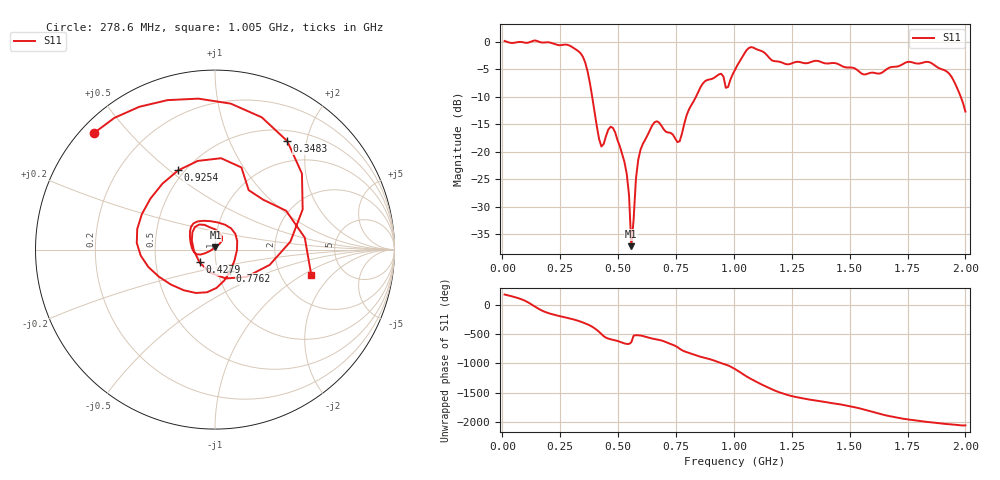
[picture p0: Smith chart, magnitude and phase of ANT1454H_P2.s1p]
!Created with skrf (http://scikit-rf.org).
# Hz S RI R 50.0
!freq ReS11 ImS11
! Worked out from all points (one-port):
!   201 points, 10 MHz to 2 GHz, reference 50 ohm
!   lowest |S11| = -37.1 dB at 557.2 MHz (marker M1), VSWR 1.03, Z = 50.2 + j1.37 ohm
!   |S11| at or under -10 dB: 388.1 MHz to 836.7 MHz (448.6 MHz wide, 73.2 % of centre); 1.98 GHz to end of sweep
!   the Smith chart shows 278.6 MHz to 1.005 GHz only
!   S11 on the Smith chart (normalised r, x): 278.6 MHz: 0.04, +0.40; 348.3 MHz: 0.65, +1.67; 427.9 MHz: 0.83, -0.12; 776.1 MHz: 1.15, -0.28; 925.4 MHz: 0.46, +0.54; 1.005 GHz: 2.94, -1.21
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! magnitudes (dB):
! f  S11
! 10 MHz  0.1
! 258.8 MHz  -0.6
! 278.6 MHz  -0.6
! 348.3 MHz  -2.8
! 368.2 MHz  -5.4
! 427.9 MHz  -19.0
! 467.7 MHz  -15.5
! 507.5 MHz  -19.0
! 537.4 MHz  -24.0
! 547.3 MHz  -27.8
! 557.2 MHz  -37.1
! 577.1 MHz  -24.9
! 587.1 MHz  -21.5
! 607 MHz  -18.6
! 666.7 MHz  -14.5
! 756.2 MHz  -18.3
! 776.1 MHz  -16.7
! 855.8 MHz  -8.3
! 925.4 MHz  -6.3
! 975.1 MHz  -8.3
! 1.005 GHz  -5.1
! 1.075 GHz  -1.0
! 1.254 GHz  -3.9
! 1.502 GHz  -4.7
! 1.632 GHz  -5.8
! 1.751 GHz  -3.7
! 1.92 GHz  -5.5
! 2 GHz  -12.7
